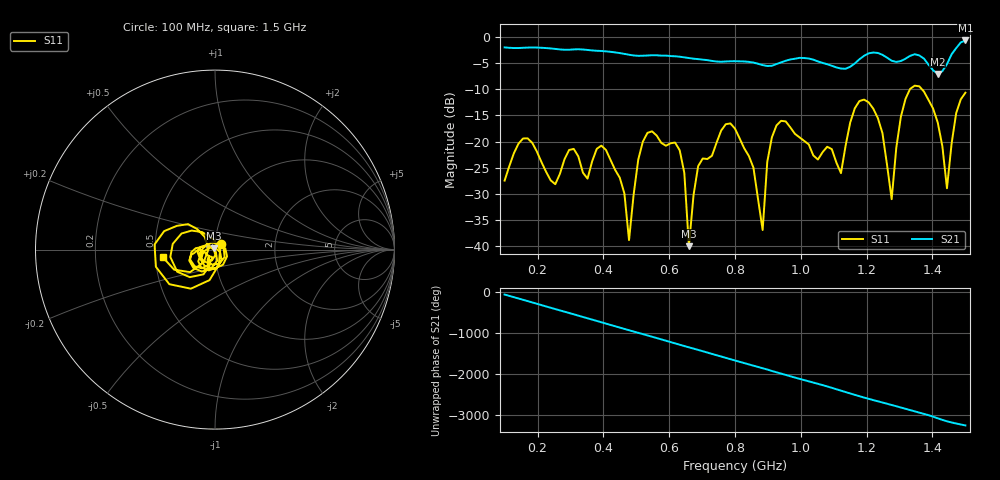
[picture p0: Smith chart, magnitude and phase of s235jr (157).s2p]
! NanoVNA-App
! Date: 2025-09-25 15:05:23
! Start: 100MHz Stop: 1,5GHz Points: 101
! S-Parameter data: F S11 S21 S12 S22
# Hz S RI R 50
!  Frequency  S11_Real  S11_Imag  S21_Real  S21_Imag  S12_Real  S12_Imag  S22_Real  S22_Imag
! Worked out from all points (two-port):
!   101 points, 100 MHz to 1.5 GHz, reference 50 ohm
!   highest |S21| = -0.63 dB at 1.5 GHz (marker M1); lowest = -7.0 dB at 1.416 GHz (marker M2)
!   |S21| within 3 dB of the highest: start of sweep to 607.5 MHz; 1.191 GHz to 1.254 GHz (63.39 MHz wide, 5.18 % of centre) (the widest 2 of 4)
!   lowest |S11| = -40.0 dB at 660 MHz (marker M3), VSWR 1.02, Z = 49.3 + j0.669 ohm
!   |S11| at or under -10 dB: start of sweep to 1.331 GHz; 1.368 GHz to end of sweep
!   S12 and S22 are empty: the file has one direction only
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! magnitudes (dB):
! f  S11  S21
! 100 MHz  -27.5  -2.0
! 156 MHz  -19.4  -2.0
! 338 MHz  -26.0  -2.4
! 408 MHz  -21.6  -2.7
! 478 MHz  -38.9  -3.4
! 520 MHz  -20.0  -3.6
! 576 MHz  -20.2  -3.5
! 632 MHz  -21.7  -3.7
! 660 MHz  -40.0  -4.0
! 688 MHz  -24.7  -4.2
! 800 MHz  -17.5  -4.6
! 884 MHz  -36.9  -5.4
! 898 MHz  -23.9  -5.5
! 926 MHz  -16.9  -5.1
! 1.038 GHz  -22.7  -4.3
! 1.122 GHz  -26.1  -6.0
! 1.192 GHz  -12.0  -3.6
! 1.276 GHz  -31.0  -4.5
! 1.332 GHz  -9.9  -3.6
! 1.416 GHz  -16.4  -7.0
! 1.444 GHz  -28.9  -5.2
! 1.5 GHz  -10.6  -0.6
